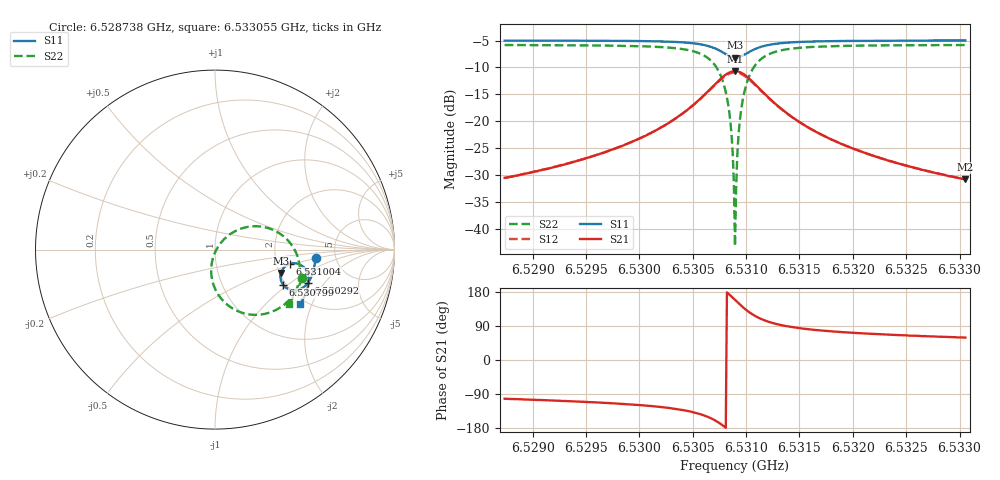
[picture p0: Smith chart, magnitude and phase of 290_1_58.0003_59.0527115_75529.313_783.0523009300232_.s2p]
#  HZ  S  RI  R  50.00
! Rohde & Schwarz Vector Network Analyzer
! Rohde-Schwarz,ZNB20-2Port,1311601062101988,3.16
! Created: UTC 3/21/2024, 1:03:14 AM
! freq[Hz]  re:S11  im:S11  re:S21  im:S21  re:S12  im:S12  re:S22  im:S22
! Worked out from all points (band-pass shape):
!   401 points, 6.528738 GHz to 6.533055 GHz, reference 50 ohm
!   highest |S21| = -10.68 dB at 6.530896 GHz (marker M1); lowest = -30.8 dB at 6.533055 GHz (marker M2)
!   |S21| within 3 dB of the highest: 6.530681 GHz to 6.531113 GHz (432.2 kHz wide, 0.00662 % of centre)
!   lowest |S11| = -8.2 dB at 6.530896 GHz (marker M3), VSWR 2.28, Z = 102 - j31.1 ohm
!   |S11| at or under -10 dB: nowhere
!   |S22| runs from -43.2 to -5.8 dB; largest |S21 - S12| = 0.011
!   S11 on the Smith chart (normalised r, x): 6.528738 GHz: 3.50, -0.46; 6.530292 GHz: 2.59, -1.39; 6.530799 GHz: 1.93, -0.93; 6.531004 GHz: 2.38, -0.46; 6.533055 GHz: 1.85, -1.65
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6.5287379e9  0.5601 -0.0448  -0.00633 -0.0291  -0.00686 -0.0289  0.4871 -0.1561
6.529461e9  0.5511 -0.1047  -0.0152 -0.0413  -0.0161 -0.0412  0.4577 -0.221
6.530184e9  0.5243 -0.1751  -0.0471 -0.0711  -0.0492 -0.0699  0.3798 -0.3113
6.5302919e9  0.5155 -0.188  -0.0596 -0.0789  -0.0619 -0.0772  0.3536 -0.3288
6.5306373e9  0.449 -0.2267  -0.1615 -0.0948  -0.1635 -0.0885  0.1621 -0.3552
6.5307344e9  0.4084 -0.2195  -0.2243 -0.0664  -0.2232 -0.0574  0.0576 -0.2974
6.5307991e9  0.3795 -0.196  -0.266 -0.0164  -0.2609 -0.00691  -0.00454 -0.2063
6.5308423e9  0.3669 -0.1696  -0.2815 0.0342  -0.2734 0.0419  -0.0215 -0.1203
6.5308639e9  0.3645 -0.154  -0.2821 0.0628  -0.2731 0.0691  -0.0176 -0.0731
6.5308747e9  0.3647 -0.1459  -0.2804 0.0774  -0.2707 0.0829  -0.0122 -0.0495
6.5308855e9  0.3656 -0.1379  -0.2772 0.092  -0.2674 0.0965  -0.00438 -0.0264
6.5308963e9  0.3674 -0.1298  -0.2724 0.1062  -0.2624 0.1098  0.00561 -0.00403
6.5309071e9  0.3701 -0.1222  -0.2665 0.1199  -0.2562 0.1225  0.0178 0.0171
6.5309179e9  0.3737 -0.1148  -0.259 0.1327  -0.249 0.1347  0.0321 0.037
6.5309286e9  0.378 -0.1081  -0.2505 0.1447  -0.2408 0.1458  0.048 0.0552
6.5309502e9  0.3882 -0.0961  -0.2309 0.1657  -0.2216 0.1651  0.0839 0.086
6.5310042e9  0.4196 -0.0783  -0.1734 0.1966  -0.1669 0.194  0.1837 0.1267
6.5310797e9  0.4607 -0.0786  -0.1015 0.1991  -0.0981 0.1963  0.304 0.1173
6.5311877e9  0.4966 -0.1002  -0.0395 0.1698  -0.0379 0.1684  0.4042 0.0536
6.5316193e9  0.5216 -0.1787  0.0143 0.0823  0.0155 0.0821  0.4733 -0.1308
6.5323424e9  0.5024 -0.251  0.0167 0.0393  0.0175 0.0391  0.4451 -0.2447
6.5330546e9  0.4751 -0.3036  0.0148 0.0248  0.0153 0.0245  0.41 -0.3052
